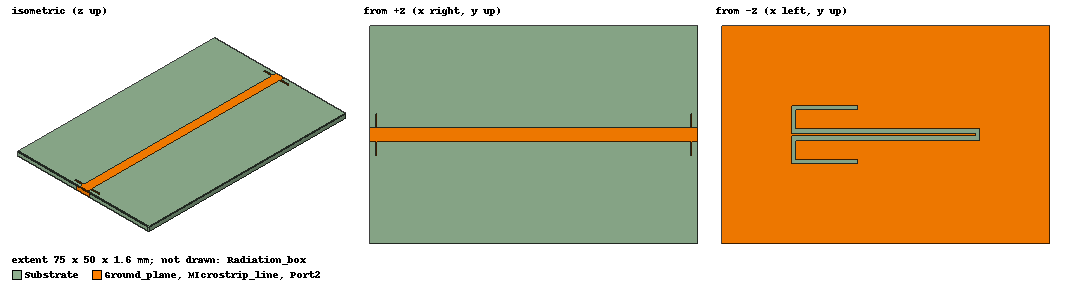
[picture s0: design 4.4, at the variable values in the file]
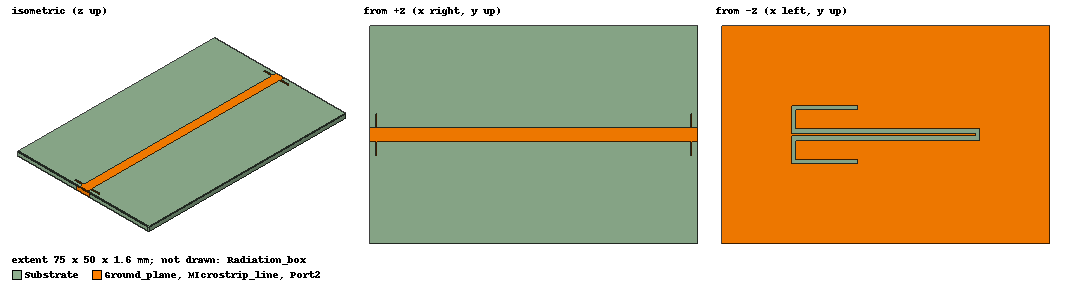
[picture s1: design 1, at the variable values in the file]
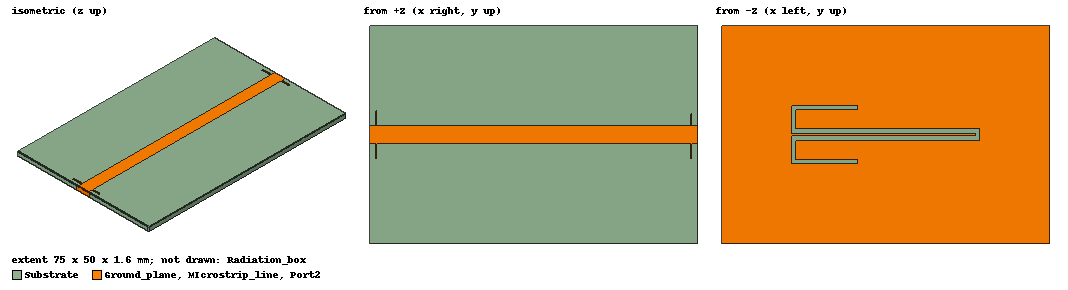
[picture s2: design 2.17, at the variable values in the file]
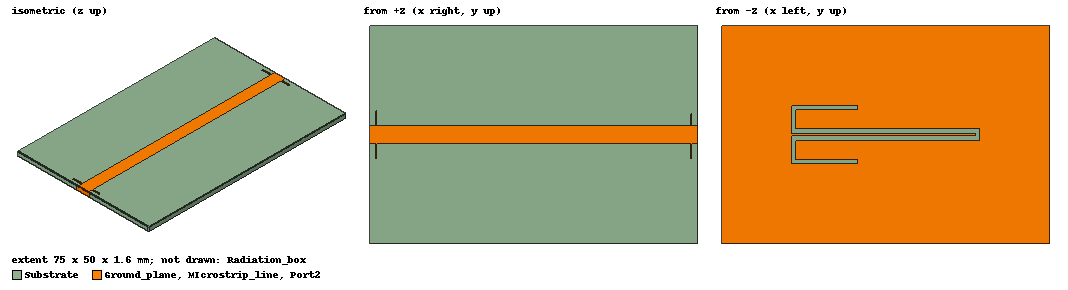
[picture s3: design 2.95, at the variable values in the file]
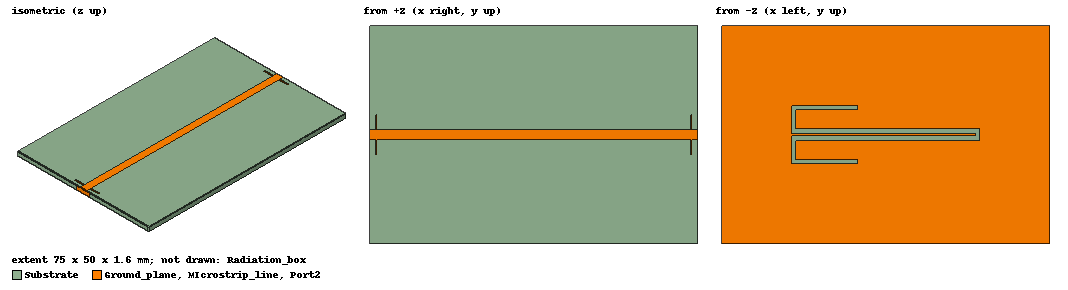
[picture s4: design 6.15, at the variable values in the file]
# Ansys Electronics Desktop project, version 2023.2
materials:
  vacuum: permittivity=1
  FR4_epoxy: permittivity=4.4 dielectric_loss_tangent=0.02
  air: permittivity=1.0006 permeability=1.0000004
  Tantalum Nitride: conductivity=7400
  Arlon IsoClad 917 (tm): permittivity=2.17 dielectric_loss_tangent=0.0013
  Rogers RT/duroid 6002 (tm): permittivity=2.94 dielectric_loss_tangent=0.0012
  Rogers RT/duroid 6006 (tm): permittivity=6.15 dielectric_loss_tangent=0.0019

design 4.4 (HFSS, HFSS Terminal Network, model units mm)
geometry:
  Substrate [FR4_epoxy] = box(corner=(-37.5mm, -25mm, 0mm), size=(75mm, 50mm, 1.6mm))
  Ground_plane = rectangle(corner=(-37.5mm, -25mm, 0mm), x_size=75mm, y_size=50mm)
  Rectangle1 = rectangle(corner=(-21.5mm, -1.3mm, 0mm), x_size=43mm, y_size=1mm)
  Rectangle2 = rectangle(corner=(-21.5mm, 0.3mm, 0mm), x_size=43mm, y_size=1mm)
  Rectangle3 = rectangle(corner=(-21.5mm, -0.3mm, 0mm), x_size=1mm, y_size=0.6mm)
  Rectangle4 = rectangle(corner=(21.5mm, -1.3mm, 0mm), x_size=-1mm, y_size=-4.4mm)
  Rectangle5 = rectangle(corner=(21.5mm, 5.7mm, 0mm), x_size=-1mm, y_size=-4.4mm)
  Rectangle6 = rectangle(corner=(21.5mm, -5.7mm, 0mm), x_size=-15mm, y_size=-1mm)
  Rectangle7 = rectangle(corner=(21.5mm, 6.7mm, 0mm), x_size=-15mm, y_size=-1mm)
  Ground_plane.subtract(Rectangle1..Rectangle7)
  MIcrostrip_line = rectangle(corner=(-37.5mm, -1.5mm, 1.6mm), x_size=75mm, y_size=3mm)
  Rectangle8 = rectangle(corner=(35.8mm, -1.5mm, 1.6mm), x_size=0.4mm, y_size=-3.4mm)
  Rectangle9 = rectangle(corner=(35.8mm, 1.5mm, 1.6mm), x_size=0.4mm, y_size=3.4mm)
  Rectangle10 = rectangle(corner=(-36.2mm, -1.5mm, 1.6mm), x_size=0.4mm, y_size=-3.4mm)
  Rectangle11 = rectangle(corner=(-36.2mm, 1.5mm, 1.6mm), x_size=0.4mm, y_size=3.4mm)
  MIcrostrip_line.unite(Rectangle8..Rectangle11)
  Port1 = rectangle(corner=(-37.5mm, -2.5mm, 1.6mm), y_size=5mm, z_size=-1.6mm)
  Port2 = rectangle(corner=(37.5mm, -2.5mm, 1.6mm), y_size=5mm, z_size=-1.6mm)
  Radiation_box [air] = box(corner=(-60mm, -45mm, -10mm), size=(125mm, 90mm, 35mm))
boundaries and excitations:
  PerfE1: Perfect E Objects=Ground_plane
  PerfE2: Perfect E Objects=MIcrostrip_line
  Rad1: Radiation Objects=Radiation_box
  1: Lumped Port Objects=Port1 LumpedPortType=Modal Modes{Mode1{IntLine{(-37.5, 0, 0) -> (-37.5, 0, 1.6)} CharImp=Zpi RenormImp=50ohm}} Impedance=50ohm
  2: Lumped Port Objects=Port2 LumpedPortType=Modal Modes{Mode1{IntLine{(37.5, 0, 0) -> (37.5, 0, 1.6)} CharImp=Zpi RenormImp=50ohm}} Impedance=50ohm
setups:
  Setup1: HfssDriven Frequency=1GHz MaxDeltaS=0.02 MaximumPasses=6 MinimumPasses=1 MinimumConvergedPasses=1 PercentRefinement=30 BasisOrder=1 PortAccuracy=2 DrivenSolverType="Direct Solver"
    sweep Sweep: 0.1GHz to 1.5GHz, 901 points; Type=Fast SaveFields
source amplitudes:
  1:1: 1V 0deg
  2:1: 0V 0deg
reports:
  S Parameter Plot 1: dB(S(1,1)), dB(S(2,1)), dB(S(1,2)), dB(S(2,2)) vs Freq on Setup1 : Sweep; markers m1 at 0.93222222GHz, m2 at 0.96177778GHz, m3 at 0.58844444GHz, m4 at 1.2231111GHz

design 1 (HFSS, HFSS Terminal Network, model units mm)
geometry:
  Substrate [Tantalum Nitride] = box(corner=(-37.5mm, -25mm, 0mm), size=(75mm, 50mm, 1.6mm))
  Ground_plane = rectangle(corner=(-37.5mm, -25mm, 0mm), x_size=75mm, y_size=50mm)
  Rectangle1 = rectangle(corner=(-21.5mm, -1.3mm, 0mm), x_size=43mm, y_size=1mm)
  Rectangle2 = rectangle(corner=(-21.5mm, 0.3mm, 0mm), x_size=43mm, y_size=1mm)
  Rectangle3 = rectangle(corner=(-21.5mm, -0.3mm, 0mm), x_size=1mm, y_size=0.6mm)
  Rectangle4 = rectangle(corner=(21.5mm, -1.3mm, 0mm), x_size=-1mm, y_size=-4.4mm)
  Rectangle5 = rectangle(corner=(21.5mm, 5.7mm, 0mm), x_size=-1mm, y_size=-4.4mm)
  Rectangle6 = rectangle(corner=(21.5mm, -5.7mm, 0mm), x_size=-15mm, y_size=-1mm)
  Rectangle7 = rectangle(corner=(21.5mm, 6.7mm, 0mm), x_size=-15mm, y_size=-1mm)
  Ground_plane.subtract(Rectangle1..Rectangle7)
  MIcrostrip_line = rectangle(corner=(-37.5mm, -1.5mm, 1.6mm), x_size=75mm, y_size=3mm)
  Rectangle8 = rectangle(corner=(35.8mm, -1.5mm, 1.6mm), x_size=0.4mm, y_size=-3.4mm)
  Rectangle9 = rectangle(corner=(35.8mm, 1.5mm, 1.6mm), x_size=0.4mm, y_size=3.4mm)
  Rectangle10 = rectangle(corner=(-36.2mm, -1.5mm, 1.6mm), x_size=0.4mm, y_size=-3.4mm)
  Rectangle11 = rectangle(corner=(-36.2mm, 1.5mm, 1.6mm), x_size=0.4mm, y_size=3.4mm)
  MIcrostrip_line.unite(Rectangle8..Rectangle11)
  Port1 = rectangle(corner=(-37.5mm, -2.5mm, 1.6mm), y_size=5mm, z_size=-1.6mm)
  Port2 = rectangle(corner=(37.5mm, -2.5mm, 1.6mm), y_size=5mm, z_size=-1.6mm)
  Radiation_box [air] = box(corner=(-60mm, -45mm, -10mm), size=(125mm, 90mm, 35mm))
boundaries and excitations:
  PerfE1: Perfect E Objects=Ground_plane
  PerfE2: Perfect E Objects=MIcrostrip_line
  Rad1: Radiation Objects=Radiation_box
  1: Lumped Port Objects=Port1 LumpedPortType=Modal Modes{Mode1{IntLine{(-37.5, 0, 0) -> (-37.5, 0, 1.6)} CharImp=Zpi RenormImp=50ohm}} Impedance=50ohm
  2: Lumped Port Objects=Port2 LumpedPortType=Modal Modes{Mode1{IntLine{(37.5, 0, 0) -> (37.5, 0, 1.6)} CharImp=Zpi RenormImp=50ohm}} Impedance=50ohm
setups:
  Setup1: HfssDriven Frequency=1GHz MaxDeltaS=0.02 MaximumPasses=6 MinimumPasses=1 MinimumConvergedPasses=1 PercentRefinement=30 BasisOrder=1 PortAccuracy=2 DrivenSolverType="Direct Solver"
    sweep Sweep: 0.1GHz to 1.5GHz, 901 points; Type=Fast SaveFields
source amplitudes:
  1:1: 1V 0deg
  2:1: 0V 0deg
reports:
  S Parameter Plot 1: dB(S(1,1)), dB(S(2,1)), dB(S(1,2)), dB(S(2,2)) vs Freq on Setup1 : Sweep

design 2.17 (HFSS, HFSS Terminal Network, model units mm)
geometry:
  Substrate [Arlon IsoClad 917 (tm)] = box(corner=(-37.5mm, -25mm, 0mm), size=(75mm, 50mm, 1.6mm))
  Ground_plane = rectangle(corner=(-37.5mm, -25mm, 0mm), x_size=75mm, y_size=50mm)
  Rectangle1 = rectangle(corner=(-21.5mm, -1.3mm, 0mm), x_size=43mm, y_size=1mm)
  Rectangle2 = rectangle(corner=(-21.5mm, 0.3mm, 0mm), x_size=43mm, y_size=1mm)
  Rectangle3 = rectangle(corner=(-21.5mm, -0.3mm, 0mm), x_size=1mm, y_size=0.6mm)
  Rectangle4 = rectangle(corner=(21.5mm, -1.3mm, 0mm), x_size=-1mm, y_size=-4.4mm)
  Rectangle5 = rectangle(corner=(21.5mm, 5.7mm, 0mm), x_size=-1mm, y_size=-4.4mm)
  Rectangle6 = rectangle(corner=(21.5mm, -5.7mm, 0mm), x_size=-15mm, y_size=-1mm)
  Rectangle7 = rectangle(corner=(21.5mm, 6.7mm, 0mm), x_size=-15mm, y_size=-1mm)
  Ground_plane.subtract(Rectangle1..Rectangle7)
  MIcrostrip_line = rectangle(corner=(-37.5mm, -2mm, 1.6mm), x_size=75mm, y_size=4mm)
  Rectangle8 = rectangle(corner=(35.8mm, -2mm, 1.6mm), x_size=0.4mm, y_size=-3.4mm)
  Rectangle9 = rectangle(corner=(35.8mm, 1.5mm, 1.6mm), x_size=0.4mm, y_size=3.4mm)
  Rectangle10 = rectangle(corner=(-36.2mm, -2mm, 1.6mm), x_size=0.4mm, y_size=-3.4mm)
  Rectangle11 = rectangle(corner=(-36.2mm, 2mm, 1.6mm), x_size=0.4mm, y_size=3.4mm)
  MIcrostrip_line.unite(Rectangle8..Rectangle11)
  Port1 = rectangle(corner=(-37.5mm, -2.5mm, 1.6mm), y_size=5mm, z_size=-1.6mm)
  Port2 = rectangle(corner=(37.5mm, -2.5mm, 1.6mm), y_size=5mm, z_size=-1.6mm)
  Radiation_box [air] = box(corner=(-60mm, -45mm, -10mm), size=(125mm, 90mm, 35mm))
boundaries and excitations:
  PerfE1: Perfect E Objects=Ground_plane
  PerfE2: Perfect E Objects=MIcrostrip_line
  Rad1: Radiation Objects=Radiation_box
  1: Lumped Port Objects=Port1 LumpedPortType=Modal Modes{Mode1{IntLine{(-37.5, 0, 0) -> (-37.5, 0, 1.6)} CharImp=Zpi RenormImp=50ohm}} Impedance=50ohm
  2: Lumped Port Objects=Port2 LumpedPortType=Modal Modes{Mode1{IntLine{(37.5, 0, 0) -> (37.5, 0, 1.6)} CharImp=Zpi RenormImp=50ohm}} Impedance=50ohm
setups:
  Setup1: HfssDriven Frequency=1GHz MaxDeltaS=0.02 MaximumPasses=6 MinimumPasses=1 MinimumConvergedPasses=1 PercentRefinement=30 BasisOrder=1 PortAccuracy=2 DrivenSolverType="Direct Solver"
    sweep Sweep: 0.1GHz to 1.5GHz, 901 points; Type=Fast SaveFields
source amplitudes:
  1:1: 1V 0deg
  2:1: 0V 0deg
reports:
  S Parameter Plot 1: dB(S(1,1)), dB(S(2,1)), dB(S(1,2)), dB(S(2,2)) vs Freq on Setup1 : Sweep; markers m1 at 1.2028889GHz, m2 at 1.2386667GHz, m3 at 0.74866667GHz, m4 at 1.3211111GHz

design 2.95 (HFSS, HFSS Terminal Network, model units mm)
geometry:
  Substrate [Rogers RT/duroid 6002 (tm)] = box(corner=(-37.5mm, -25mm, 0mm), size=(75mm, 50mm, 1.6mm))
  Ground_plane = rectangle(corner=(-37.5mm, -25mm, 0mm), x_size=75mm, y_size=50mm)
  Rectangle1 = rectangle(corner=(-21.5mm, -1.3mm, 0mm), x_size=43mm, y_size=1mm)
  Rectangle2 = rectangle(corner=(-21.5mm, 0.3mm, 0mm), x_size=43mm, y_size=1mm)
  Rectangle3 = rectangle(corner=(-21.5mm, -0.3mm, 0mm), x_size=1mm, y_size=0.6mm)
  Rectangle4 = rectangle(corner=(21.5mm, -1.3mm, 0mm), x_size=-1mm, y_size=-4.4mm)
  Rectangle5 = rectangle(corner=(21.5mm, 5.7mm, 0mm), x_size=-1mm, y_size=-4.4mm)
  Rectangle6 = rectangle(corner=(21.5mm, -5.7mm, 0mm), x_size=-15mm, y_size=-1mm)
  Rectangle7 = rectangle(corner=(21.5mm, 6.7mm, 0mm), x_size=-15mm, y_size=-1mm)
  Ground_plane.subtract(Rectangle1..Rectangle7)
  Port1 = rectangle(corner=(-37.5mm, -2.5mm, 1.6mm), y_size=5mm, z_size=-1.6mm)
  Port2 = rectangle(corner=(37.5mm, -2.5mm, 1.6mm), y_size=5mm, z_size=-1.6mm)
  Radiation_box [air] = box(corner=(-60mm, -45mm, -10mm), size=(125mm, 90mm, 35mm))
  MIcrostrip_line = rectangle(corner=(-37.5mm, -2mm, 1.6mm), x_size=75mm, y_size=4mm)
  Rectangle8 = rectangle(corner=(35.8mm, -2mm, 1.6mm), x_size=0.4mm, y_size=-3.4mm)
  Rectangle9 = rectangle(corner=(35.8mm, 1.5mm, 1.6mm), x_size=0.4mm, y_size=3.4mm)
  Rectangle10 = rectangle(corner=(-36.2mm, -2mm, 1.6mm), x_size=0.4mm, y_size=-3.4mm)
  Rectangle11 = rectangle(corner=(-36.2mm, 2mm, 1.6mm), x_size=0.4mm, y_size=3.4mm)
  MIcrostrip_line.unite(Rectangle8..Rectangle11)
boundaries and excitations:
  PerfE1: Perfect E Objects=Ground_plane
  Rad1: Radiation Objects=Radiation_box
  PerfE2: Perfect E Objects=MIcrostrip_line
  1: Lumped Port Objects=Port1 LumpedPortType=Modal Modes{Mode1{IntLine{(-37.5, 0, 0) -> (-37.5, 0, 1.6)} CharImp=Zpi RenormImp=50ohm}} Impedance=50ohm
  2: Lumped Port Objects=Port2 LumpedPortType=Modal Modes{Mode1{IntLine{(37.5, 0, 0) -> (37.5, 0, 1.6)} CharImp=Zpi RenormImp=50ohm}} Impedance=50ohm
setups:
  Setup1: HfssDriven Frequency=1GHz MaxDeltaS=0.02 MaximumPasses=6 MinimumPasses=1 MinimumConvergedPasses=1 PercentRefinement=30 BasisOrder=1 PortAccuracy=2 DrivenSolverType="Direct Solver"
    sweep Sweep: 0.1GHz to 1.5GHz, 901 points; Type=Fast SaveFields
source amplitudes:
  1:1: 1V 0deg
  2:1: 0V 0deg
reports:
  S Parameter Plot 1: dB(S(1,1)), dB(S(2,1)), dB(S(1,2)), dB(S(2,2)) vs Freq on Setup1 : Sweep; markers m1 at 1.0535556GHz, m2 at 1.0877778GHz, m3 at 0.744GHz, m4 at 1.2231111GHz

design 6.15 (HFSS, HFSS Terminal Network, model units mm)
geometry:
  Substrate [Rogers RT/duroid 6006 (tm)] = box(corner=(-37.5mm, -25mm, 0mm), size=(75mm, 50mm, 1.6mm))
  Ground_plane = rectangle(corner=(-37.5mm, -25mm, 0mm), x_size=75mm, y_size=50mm)
  Rectangle1 = rectangle(corner=(-21.5mm, -1.3mm, 0mm), x_size=43mm, y_size=1mm)
  Rectangle2 = rectangle(corner=(-21.5mm, 0.3mm, 0mm), x_size=43mm, y_size=1mm)
  Rectangle3 = rectangle(corner=(-21.5mm, -0.3mm, 0mm), x_size=1mm, y_size=0.6mm)
  Rectangle4 = rectangle(corner=(21.5mm, -1.3mm, 0mm), x_size=-1mm, y_size=-4.4mm)
  Rectangle5 = rectangle(corner=(21.5mm, 5.7mm, 0mm), x_size=-1mm, y_size=-4.4mm)
  Rectangle6 = rectangle(corner=(21.5mm, -5.7mm, 0mm), x_size=-15mm, y_size=-1mm)
  Rectangle7 = rectangle(corner=(21.5mm, 6.7mm, 0mm), x_size=-15mm, y_size=-1mm)
  Ground_plane.subtract(Rectangle1..Rectangle7)
  Port1 = rectangle(corner=(-37.5mm, -2.5mm, 1.6mm), y_size=5mm, z_size=-1.6mm)
  Port2 = rectangle(corner=(37.5mm, -2.5mm, 1.6mm), y_size=5mm, z_size=-1.6mm)
  Radiation_box [air] = box(corner=(-60mm, -45mm, -10mm), size=(125mm, 90mm, 35mm))
  MIcrostrip_line = rectangle(corner=(-37.5mm, -1.225mm, 1.6mm), x_size=75mm, y_size=2.45mm)
  Rectangle8 = rectangle(corner=(35.8mm, -1.225mm, 1.6mm), x_size=0.4mm, y_size=-3.4mm)
  Rectangle9 = rectangle(corner=(35.8mm, 1.225mm, 1.6mm), x_size=0.4mm, y_size=3.4mm)
  Rectangle10 = rectangle(corner=(-36.2mm, -1.225mm, 1.6mm), x_size=0.4mm, y_size=-3.4mm)
  Rectangle11 = rectangle(corner=(-36.2mm, 1.225mm, 1.6mm), x_size=0.4mm, y_size=3.4mm)
  MIcrostrip_line.unite(Rectangle8..Rectangle11)
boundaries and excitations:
  PerfE1: Perfect E Objects=Ground_plane
  Rad1: Radiation Objects=Radiation_box
  PerfE2: Perfect E Objects=MIcrostrip_line
  1: Lumped Port Objects=Port1 LumpedPortType=Modal Modes{Mode1{IntLine{(-37.5, 0, 0) -> (-37.5, 0, 1.6)} CharImp=Zpi RenormImp=50ohm}} Impedance=50ohm
  2: Lumped Port Objects=Port2 LumpedPortType=Modal Modes{Mode1{IntLine{(37.5, 0, 0) -> (37.5, 0, 1.6)} CharImp=Zpi RenormImp=50ohm}} Impedance=50ohm
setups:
  Setup1: HfssDriven Frequency=1GHz MaxDeltaS=0.02 MaximumPasses=6 MinimumPasses=1 MinimumConvergedPasses=1 PercentRefinement=30 BasisOrder=1 PortAccuracy=2 DrivenSolverType="Direct Solver"
    sweep Sweep: 0.1GHz to 1.5GHz, 901 points; Type=Fast SaveFields
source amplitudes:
  1:1: 1V 0deg
  2:1: 0V 0deg
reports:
  S Parameter Plot 1: dB(S(1,1)), dB(S(2,1)), dB(S(1,2)), dB(S(2,2)) vs Freq on Setup1 : Sweep; markers m1 at 0.80777778GHz, m2 at 0.83266667GHz, m3 at 0.51222222GHz, m4 at 0.99133333GHz, m5 at 0.82022222GHz
